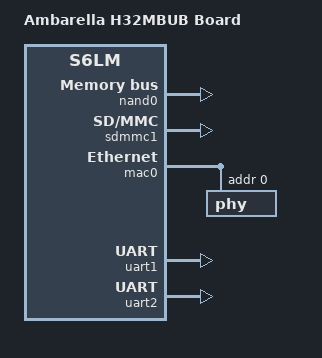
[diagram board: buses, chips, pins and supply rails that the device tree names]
/*
 * Copyright (C) 2013 Ambarella,Inc. - http://www.ambarella.com/
 * Author: Cao Rongrong <rrcao@ambarella.com>
 *
 * This program is free software; you can redistribute it and/or modify
 * it under the terms of the GNU General Public License version 2 as
 * published by the Free Software Foundation.
 */
/dts-v1/;

/include/ "ambarella-h32m-ambalink.dtsi"

/ {
	model = "Ambarella H32MBUB Board";
	compatible = "ambarella,h32mbub", "ambarella,s6lm";

	chosen {
	};

	n_apb@e4000000 {
		uart0: uart@e4000000 {
			status = "disabled";
		};
	};

	n_ahb@e0000000 {
		nand0: nand@e0002000 {
			status = "ok";
		};

		spinor0: spinor@e0001000 {
			status = "disabled";
		};

		sdmmc0: sdmmc0@e0004000 {
			/*pwr-gpios = <&gpio 63 0x1>;*/
			/*v18-gpios = <&gpio 85 0x1>;*/
			/*amb,fixed-cd = <1>;*/
			status = "disabled";
		};

		sdmmc1: sdmmc1@e0005000 {
			/*pwr-gpios = <&gpio 62 0x1>;*/
			/*v18-gpios = <&gpio 12 0x1>;*/
			amb,fixed-cd = <1>;
			keep-power-in-suspend;
			no-1-8-v;
			max-frequency = <50000000>;
			status = "ok";
		};

		sdmmc2: sdmmc2@e0016000 {
			status = "disabled";
		};

		dma0: dma@e0020000 {
			/* amb,dma-startchannel = <2>; */ /* Prevent conflict between RTOS. */
			status = "disabled";
		};

		dma1: dma@e0021000 {
			/* amb,dma-startchannel = <2>; */ /* Prevent conflict between RTOS. */
			status = "disabled";
		};

#if 1
		mac0: ethernet@e000e000 {
			amb,tx-clk-invert;
			phy@0 {
				reg = <0>;
			};
		};
#else
		mac0: ethernet@e000e000 {
			device_type 	= "network";
			compatible	= "st,stih416-dwmac", "snps,dwmac", "snps,dwmac-3.710";
			status 		= "ok";
			reg		= <0xe000e000 0x2000>;
			reg-names	= "stmmaceth";
			interrupts = <0 58 0x4>;
			interrupt-names = "macirq";
			snps,pbl 	= <32>;
			snps,mixed-burst;
			snps,scr-regmap = <&scratchpad_syscon>;
#if 0
			/*rx-fifo-depth = <256>;*/
			/*tx-fifo-depth = <256>;*/
			/*snps,force_sf_dma_mode;*/
			phy-handle = <&ethernet_phy>;
			mdio {
				compatible = "snps,dwmac-mdio";
				ethernet_phy: ethernet-phy@0 {
					reg = <0>;
					compatible = "ethernet-phy-id0007.0570";
				};
			};
#endif
		};
#endif

		uart1: uart@e0017000 {
			/*/delete-property/ amb,msr-used;  */
			/*/delete-property/ amb,txdma-used;*/
			/*/delete-property/ amb,rxdma-used;*/
			status = "ok";
		};

		uart2: uart@e0018000 {
			status = "ok";
		};

		uart3: uart@e0019000 {
			status = "disabled";
		};

		uart4: uart@e001a000 {
			status = "disabled";
		};
	};

	rct@ed080000 {
		usbphy: usbphy@ed080050 {
			/* high will trigger the ocp interrupt */
			amb,ocp-polarity = <0>;
			pinctrl-names = "default";
			status = "ok";
		};
	};

	ambalink {
		compatible = "simple-bus";
		#address-cells = <1>;
		#size-cells = <1>;

		aipc_mutex: ambarella-ipc-mutex {
			compatible = "ambarella,ipc-mutex";
			interrupts = <0 96 0x4>;
			amb,scr-regmap = <&scratchpad_syscon>;
		};

		/* must be consistent with ambalink_cfg.h */
		rproc0: ambarella-rproc {
			compatible = "ambarella,rproc";
			interrupts = <0 91 0x4>,	/* rvq_rx_irq, get rvq kick from rtos */
				     <0 92 0x4>;	/* svq_rx_irq, get svq ack from rtos */
			amb,scr-regmap = <&scratchpad_syscon>;
		};
	};
};
